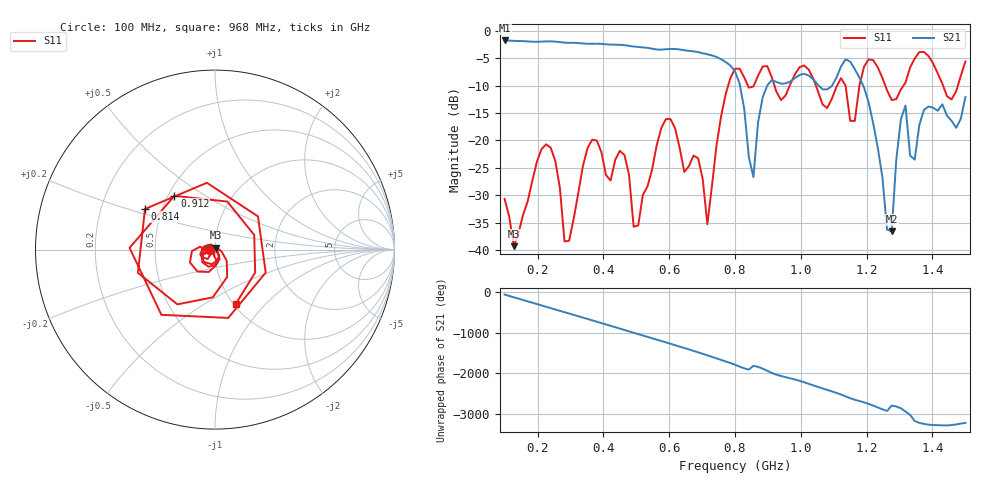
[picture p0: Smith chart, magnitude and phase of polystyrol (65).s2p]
! NanoVNA-App
! Date: 2025-09-26 09:42:23
! Start: 100MHz Stop: 1,5GHz Points: 101
! S-Parameter data: F S11 S21 S12 S22
# Hz S RI R 50
!  Frequency  S11_Real  S11_Imag  S21_Real  S21_Imag  S12_Real  S12_Imag  S22_Real  S22_Imag
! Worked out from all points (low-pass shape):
!   101 points, 100 MHz to 1.5 GHz, reference 50 ohm
!   highest |S21| = -1.79 dB at 100 MHz (marker M1); lowest = -36.6 dB at 1.276 GHz (marker M2)
!   |S21| within 3 dB of the highest: start of sweep to 743.5 MHz
!   lowest |S11| = -39.3 dB at 128 MHz (marker M3), VSWR 1.02, Z = 50.3 + j1.06 ohm
!   |S11| at or under -10 dB: start of sweep to 779.3 MHz; 1.046 GHz to 1.11 GHz (64.65 MHz wide, 6 % of centre); 1.257 GHz to 1.312 GHz (55.47 MHz wide, 4.32 % of centre)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
!   S12 and S22 are empty: the file has one direction only
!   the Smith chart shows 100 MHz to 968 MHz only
!   S11 on the Smith chart (normalised r, x): 100 MHz: 0.94, -0.01; 814 MHz: 0.40, +0.23; 912 MHz: 0.54, +0.38; 968 MHz: 1.02, -0.69
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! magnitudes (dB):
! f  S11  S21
! 100 MHz  -30.7  -1.8
! 128 MHz  -39.3  -1.9
! 212 MHz  -21.6  -2.0
! 254 MHz  -23.7  -2.0
! 282 MHz  -38.4  -2.2
! 338 MHz  -24.6  -2.3
! 464 MHz  -22.6  -2.6
! 506 MHz  -35.5  -3.0
! 576 MHz  -17.8  -3.5
! 688 MHz  -23.3  -3.9
! 716 MHz  -35.2  -4.3
! 800 MHz  -7.0  -7.4
! 814 MHz  -6.9  -9.7
! 856 MHz  -10.2  -26.7
! 912 MHz  -8.5  -9.0
! 968 MHz  -9.8  -9.3
! 1.038 GHz  -8.8  -8.9
! 1.178 GHz  -10.0  -8.6
! 1.276 GHz  -12.6  -36.6
! 1.318 GHz  -9.5  -13.6
! 1.346 GHz  -5.1  -23.5
! 1.5 GHz  -5.6  -12.1
